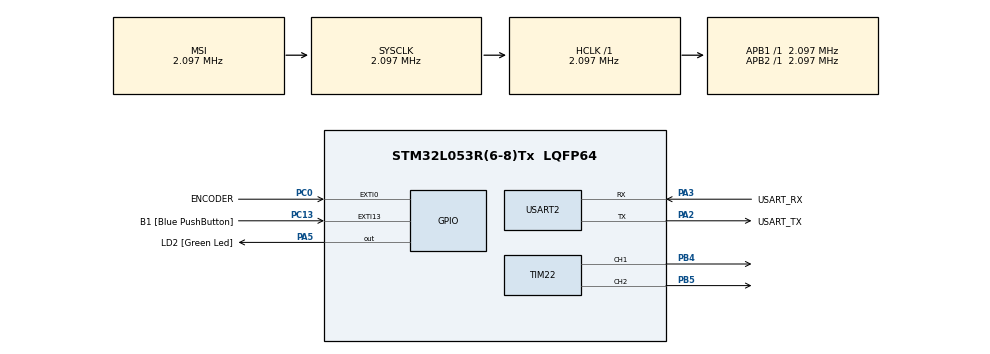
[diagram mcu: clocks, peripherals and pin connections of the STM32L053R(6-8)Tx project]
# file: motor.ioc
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Mcu.Family=STM32L0
Mcu.Name=STM32L053R(6-8)Tx
Mcu.Package=LQFP64
NVIC.EXTI0_1_IRQn=true\:0\:0\:false\:false\:true\:true\:true
NVIC.EXTI4_15_IRQn=true\:0\:0\:false\:false\:true\:true\:true
PA13.GPIO_Label=TMS
PA13.Mode=Serial_Wire
PA13.Signal=SYS_SWDIO
PA14.GPIO_Label=TCK
PA14.Mode=Serial_Wire
PA14.Signal=SYS_SWCLK
PA2.GPIO_Label=USART_TX
PA2.Mode=Asynchronous
PA2.Signal=USART2_TX
PA3.GPIO_Label=USART_RX
PA3.Mode=Asynchronous
PA3.Signal=USART2_RX
PA5.GPIO_Label=LD2 [Green Led]
PA5.Signal=GPIO_Output
PB4.Signal=S_TIM22_CH1
PB5.Signal=S_TIM22_CH2
PC0.GPIO_Label=ENCODER
PC0.Signal=GPXTI0
PC13.GPIO_Label=B1 [Blue PushButton]
PC13.GPIO_ModeDefaultEXTI=GPIO_MODE_IT_FALLING
PC13.Signal=GPXTI13
PC14-OSC32_IN.Mode=LSE-External-Oscillator
PC14-OSC32_IN.Signal=RCC_OSC32_IN
PC15-OSC32_OUT.Mode=LSE-External-Oscillator
PC15-OSC32_OUT.Signal=RCC_OSC32_OUT
PH0-OSC_IN.Mode=HSE-External-Clock-Source
PH0-OSC_IN.Signal=RCC_OSC_IN
PH1-OSC_OUT.Signal=RCC_OSC_OUT
ProjectManager.HeapSize=0x200
ProjectManager.StackSize=0x400
ProjectManager.TargetToolchain=STM32CubeIDE
RCC.AHBFreq_Value=2097000
RCC.APB1Freq_Value=2097000
RCC.APB1TimFreq_Value=2097000
RCC.APB2Freq_Value=2097000
RCC.APB2TimFreq_Value=2097000
RCC.HSE_VALUE=8000000
RCC.HSI16_VALUE=16000000
RCC.HSI48_VALUE=48000000
RCC.HSI_VALUE=16000000
RCC.MSI_VALUE=2097000
RCC.SYSCLKFreq_VALUE=2097000
RCC.VCOOutputFreq_Value=48000000
SH.S_TIM22_CH1.0=TIM22_CH1,PWM Generation1 CH1
SH.S_TIM22_CH2.0=TIM22_CH2,PWM Generation2 CH2
TIM22.Channel-PWM\ Generation1\ CH1=TIM_CHANNEL_1
TIM22.Channel-PWM\ Generation2\ CH2=TIM_CHANNEL_2
USART2.VirtualMode-Asynchronous=VM_ASYNC
VP_TIM22_VS_ClockSourceINT.Mode=Internal
board=NUCLEO-L053R8

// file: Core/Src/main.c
/* USER CODE BEGIN Header */
/**
  ******************************************************************************
  * @file           : main.c
  * @brief          : Main program body
  ******************************************************************************
  * @attention
  *
  * Copyright (c) 2022 STMicroelectronics.
  * All rights reserved.
  *
  * This software is licensed under terms that can be found in the LICENSE file
  * in the root directory of this software component.
  * If no LICENSE file comes with this software, it is provided AS-IS.
  *
  ******************************************************************************
  */
/* USER CODE END Header */
#include "main.h"
#include <stdbool.h>

TIM_HandleTypeDef htim22;

UART_HandleTypeDef huart2;

void SystemClock_Config(void);
static void MX_GPIO_Init(void);
static void MX_USART2_UART_Init(void);
static void MX_TIM22_Init(void);

/* USER CODE BEGIN 0 */

int16_t  encoder;
bool dir;

void HAL_GPIO_EXTI_Callback(uint16_t GPIO_Pin) {
    if (GPIO_Pin == ENCODER_Pin) {
    	if (dir == 1){
    		encoder++;
		}else{
			encoder--;
		}
    }
}

#define MAX_SPEED_PWM 30000
#define ABS(x) ( (x) > 0 ? (x) : -(x) )
void motorSetVel(float vel){ // vel \in [-1.0; 1.0]
	int16_t Speed = MAX_SPEED_PWM*ABS(vel);

	if (vel > 0){
		dir = 1;

		TIM22 -> CCR1 = 0;
	    TIM22 -> CCR2 = Speed;
	}else{
		dir = 0;

		TIM22 -> CCR1 = Speed;
		TIM22 -> CCR2 = 0;
	}
}

bool motorGoToPosition(int16_t position){
	bool ret = 0;

	if (position == encoder){
		motorSetVel(0.0);

		ret = 1;
	}else{

		if (position > encoder){
			motorSetVel(0.5);
		}else{
			motorSetVel(-0.5);
		}

		ret = 0;
	}

	return ret;
}

/* USER CODE END 0 */

int main(void)
{

  /* MCU Configuration--------------------------------------------------------*/

  /* Reset of all peripherals, Initializes the Flash interface and the Systick. */
  HAL_Init();

  /* Configure the system clock */
  SystemClock_Config();

  /* Initialize all configured peripherals */
  MX_GPIO_Init();
  MX_USART2_UART_Init();
  MX_TIM22_Init();
  /* USER CODE BEGIN 2 */

  HAL_TIM_PWM_Start(&htim22, TIM_CHANNEL_1);
  HAL_TIM_PWM_Start(&htim22, TIM_CHANNEL_2);

  int16_t Speed = 0;
  float spd = 0.0;

  /* USER CODE END 2 */

  /* Infinite loop */
  while (1)
  {

		uint8_t buf[30]; //Data to send
		spd = encoder; // Speed*0.001;
		sprintf(buf, "Speed = %.2f\r\n", spd);
		HAL_UART_Transmit(&huart2, buf, sizeof(buf), 10);// Sending in normal mode

		HAL_Delay(100);

//		motorSetVel(0.5);

		motorGoToPosition(60);

  }
}

void SystemClock_Config(void)
{
  RCC_OscInitTypeDef RCC_OscInitStruct = {0};
  RCC_ClkInitTypeDef RCC_ClkInitStruct = {0};
  RCC_PeriphCLKInitTypeDef PeriphClkInit = {0};

  /** Configure the main internal regulator output voltage
  */
  __HAL_PWR_VOLTAGESCALING_CONFIG(PWR_REGULATOR_VOLTAGE_SCALE1);
  /** Initializes the RCC Oscillators according to the specified parameters
  * in the RCC_OscInitTypeDef structure.
  */
  RCC_OscInitStruct.OscillatorType = RCC_OSCILLATORTYPE_MSI;
  RCC_OscInitStruct.MSIState = RCC_MSI_ON;
  RCC_OscInitStruct.MSICalibrationValue = 0;
  RCC_OscInitStruct.MSIClockRange = RCC_MSIRANGE_5;
  RCC_OscInitStruct.PLL.PLLState = RCC_PLL_NONE;
  if (HAL_RCC_OscConfig(&RCC_OscInitStruct) != HAL_OK)
  {
    Error_Handler();
  }
  /** Initializes the CPU, AHB and APB buses clocks
  */
  RCC_ClkInitStruct.ClockType = RCC_CLOCKTYPE_HCLK|RCC_CLOCKTYPE_SYSCLK
                              |RCC_CLOCKTYPE_PCLK1|RCC_CLOCKTYPE_PCLK2;
  RCC_ClkInitStruct.SYSCLKSource = RCC_SYSCLKSOURCE_MSI;
  RCC_ClkInitStruct.AHBCLKDivider = RCC_SYSCLK_DIV1;
  RCC_ClkInitStruct.APB1CLKDivider = RCC_HCLK_DIV1;
  RCC_ClkInitStruct.APB2CLKDivider = RCC_HCLK_DIV1;

  if (HAL_RCC_ClockConfig(&RCC_ClkInitStruct, FLASH_LATENCY_0) != HAL_OK)
  {
    Error_Handler();
  }
  PeriphClkInit.PeriphClockSelection = RCC_PERIPHCLK_USART2;
  PeriphClkInit.Usart2ClockSelection = RCC_USART2CLKSOURCE_PCLK1;
  if (HAL_RCCEx_PeriphCLKConfig(&PeriphClkInit) != HAL_OK)
  {
    Error_Handler();
  }
}

static void MX_TIM22_Init(void)
{

  TIM_ClockConfigTypeDef sClockSourceConfig = {0};
  TIM_MasterConfigTypeDef sMasterConfig = {0};
  TIM_OC_InitTypeDef sConfigOC = {0};

  htim22.Instance = TIM22;
  htim22.Init.Prescaler = 0;
  htim22.Init.CounterMode = TIM_COUNTERMODE_UP;
  htim22.Init.Period = 65535;
  htim22.Init.ClockDivision = TIM_CLOCKDIVISION_DIV1;
  htim22.Init.AutoReloadPreload = TIM_AUTORELOAD_PRELOAD_DISABLE;
  if (HAL_TIM_Base_Init(&htim22) != HAL_OK)
  {
    Error_Handler();
  }
  sClockSourceConfig.ClockSource = TIM_CLOCKSOURCE_INTERNAL;
  if (HAL_TIM_ConfigClockSource(&htim22, &sClockSourceConfig) != HAL_OK)
  {
    Error_Handler();
  }
  if (HAL_TIM_PWM_Init(&htim22) != HAL_OK)
  {
    Error_Handler();
  }
  sMasterConfig.MasterOutputTrigger = TIM_TRGO_RESET;
  sMasterConfig.MasterSlaveMode = TIM_MASTERSLAVEMODE_DISABLE;
  if (HAL_TIMEx_MasterConfigSynchronization(&htim22, &sMasterConfig) != HAL_OK)
  {
    Error_Handler();
  }
  sConfigOC.OCMode = TIM_OCMODE_PWM1;
  sConfigOC.Pulse = 0;
  sConfigOC.OCPolarity = TIM_OCPOLARITY_HIGH;
  sConfigOC.OCFastMode = TIM_OCFAST_DISABLE;
  if (HAL_TIM_PWM_ConfigChannel(&htim22, &sConfigOC, TIM_CHANNEL_1) != HAL_OK)
  {
    Error_Handler();
  }
  if (HAL_TIM_PWM_ConfigChannel(&htim22, &sConfigOC, TIM_CHANNEL_2) != HAL_OK)
  {
    Error_Handler();
  }
  HAL_TIM_MspPostInit(&htim22);

}

static void MX_USART2_UART_Init(void)
{

  huart2.Instance = USART2;
  huart2.Init.BaudRate = 115200;
  huart2.Init.WordLength = UART_WORDLENGTH_8B;
  huart2.Init.StopBits = UART_STOPBITS_1;
  huart2.Init.Parity = UART_PARITY_NONE;
  huart2.Init.Mode = UART_MODE_TX_RX;
  huart2.Init.HwFlowCtl = UART_HWCONTROL_NONE;
  huart2.Init.OverSampling = UART_OVERSAMPLING_16;
  huart2.Init.OneBitSampling = UART_ONE_BIT_SAMPLE_DISABLE;
  huart2.AdvancedInit.AdvFeatureInit = UART_ADVFEATURE_NO_INIT;
  if (HAL_UART_Init(&huart2) != HAL_OK)
  {
    Error_Handler();
  }

}

static void MX_GPIO_Init(void)
{
  GPIO_InitTypeDef GPIO_InitStruct = {0};

  /* GPIO Ports Clock Enable */
  __HAL_RCC_GPIOC_CLK_ENABLE();
  __HAL_RCC_GPIOH_CLK_ENABLE();
  __HAL_RCC_GPIOA_CLK_ENABLE();
  __HAL_RCC_GPIOB_CLK_ENABLE();

  /*Configure GPIO pin Output Level */
  HAL_GPIO_WritePin(LD2_GPIO_Port, LD2_Pin, GPIO_PIN_RESET);

  /*Configure GPIO pin : B1_Pin */
  GPIO_InitStruct.Pin = B1_Pin;
  GPIO_InitStruct.Mode = GPIO_MODE_IT_FALLING;
  GPIO_InitStruct.Pull = GPIO_NOPULL;
  HAL_GPIO_Init(B1_GPIO_Port, &GPIO_InitStruct);

  /*Configure GPIO pin : ENCODER_Pin */
  GPIO_InitStruct.Pin = ENCODER_Pin;
  GPIO_InitStruct.Mode = GPIO_MODE_IT_RISING;
  GPIO_InitStruct.Pull = GPIO_NOPULL;
  HAL_GPIO_Init(ENCODER_GPIO_Port, &GPIO_InitStruct);

  /*Configure GPIO pin : LD2_Pin */
  GPIO_InitStruct.Pin = LD2_Pin;
  GPIO_InitStruct.Mode = GPIO_MODE_OUTPUT_PP;
  GPIO_InitStruct.Pull = GPIO_NOPULL;
  GPIO_InitStruct.Speed = GPIO_SPEED_FREQ_LOW;
  HAL_GPIO_Init(LD2_GPIO_Port, &GPIO_InitStruct);

  /* EXTI interrupt init*/
  HAL_NVIC_SetPriority(EXTI0_1_IRQn, 0, 0);
  HAL_NVIC_EnableIRQ(EXTI0_1_IRQn);

  HAL_NVIC_SetPriority(EXTI4_15_IRQn, 0, 0);
  HAL_NVIC_EnableIRQ(EXTI4_15_IRQn);

}

void Error_Handler(void)
{
  __disable_irq();
  while (1)
  {
  }
}
